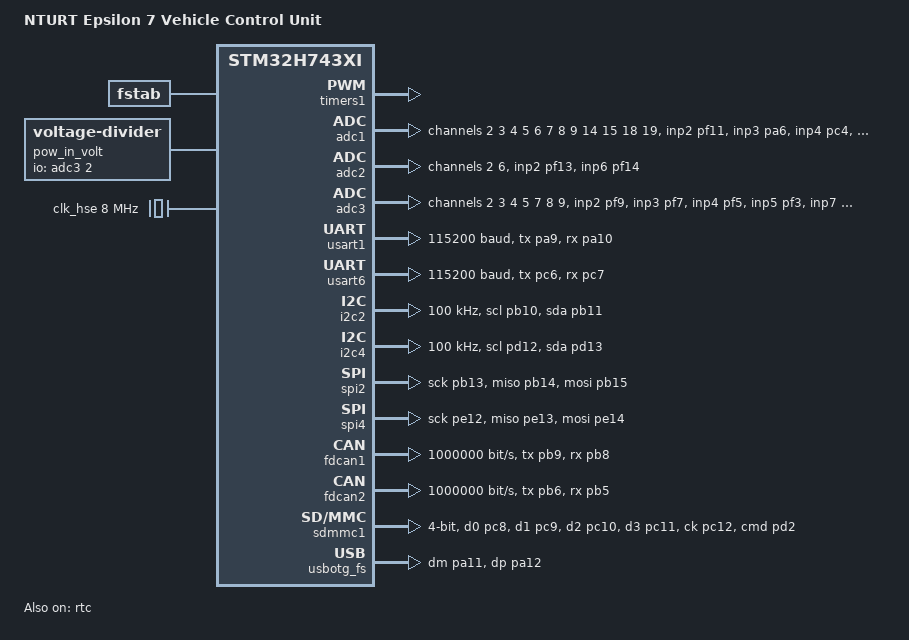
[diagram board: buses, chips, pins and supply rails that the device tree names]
/dts-v1/;
#include <st/h7/stm32h743Xi.dtsi>
#include <st/h7/stm32h743zitx-pinctrl.dtsi>
#include <zephyr/dt-bindings/input/input-event-codes.h>

/ {
    model = "NTURT Epsilon 7 Vehicle Control Unit";
    compatible = "nturt,ep7_vcu";

    chosen {
        zephyr,console = &usart1;
        zephyr,shell-uart = &usart1;
        zephyr,sram = &sram0;
        zephyr,flash = &flash0;
        zephyr,dtcm = &dtcm;
        zephyr,code-partition = &slot0_partition;
        zephyr,canbus = &fdcan1;
        zephyr,usb-device = &usbotg_fs;

        nturt,rtc = &rtc;
        nturt,fstab = &fstab;
        nturt,buzzer = &buzzer;
        nturt,pow-in-volt = &pow_in_volt;
        nturt,pow-low = &pow_low;
    };

    aliases {
        rtc = &rtc;
    };

    fstab: fstab {
        compatible = "zephyr,fstab";
        fatfs {
            compatible = "zephyr,fstab,fatfs";
            mount-point = "/SD:";
            disk-access;
            automount;
        };
    };

    // dummy only to expose node properties to the device tree
    dummy_leds: dummy-leds {
        compatible = "gpio-leds";
        status = "disabled";

        buzzer: buzzer {
            gpios = <&gpiod 3 GPIO_ACTIVE_HIGH>;
        };
    };

    // dummy only to expose node properties to the device tree
    dummy_buttons: dummy-buttons {
        compatible = "gpio-keys";
        status = "disabled";

        pow_low: pow-low {
            gpios = <&gpiog 8 (GPIO_ACTIVE_HIGH | GPIO_PULL_UP)>;
            zephyr,code = <INPUT_KEY_0>;
        };
    };

    pow_in_volt: pow-in-volt {
        compatible = "voltage-divider";
        io-channels = <&adc3 2>;
        full-ohms = <(49900 + 5600)>;
        output-ohms = <5600>;
    };
};

// include here for them to reference the added nodes above
#include "dashboard.dtsi"
#include "sensors.dtsi"

&clk_lsi {
    status = "okay";
};

&clk_csi {
    status = "okay";
};

&clk_hsi48 {
    status = "okay";
};

&clk_hse {
    clock-frequency = <DT_FREQ_M(8)>;
    status = "okay";
};

&clk_lse {
    status = "okay";
};

&pll {
    div-m = <2>;
    mul-n = <240>;
    div-p = <2>;
    div-q = <20>;
    div-r = <2>;
    clocks = <&clk_hse>;
    status = "okay";
};

&pll2 {
    div-m = <2>;
    mul-n = <200>;
    div-p = <2>;
    div-q = <20>;
    div-r = <4>;
    clocks = <&clk_hse>;
    status = "okay";
};

&pll3 {
    div-m = <2>;
    mul-n = <128>;
    div-p = <8>;
    div-q = <8>;
    div-r = <8>;
    clocks = <&clk_hse>;
    status = "okay";
};

&rcc {
    clocks = <&pll>;
    clock-frequency = <DT_FREQ_M(480)>;
    d1cpre = <1>;
    hpre = <2>;
    d1ppre = <2>;
    d2ppre1 = <2>;
    d2ppre2 = <2>;
    d3ppre = <2>;
};

&backup_sram {
    status = "okay";
};

&flash0 {
    partitions {
        compatible = "fixed-partitions";
        #address-cells = <1>;
        #size-cells = <1>;

        // bootloader: 128KB
        boot_partition: partition@0 {
            label = "mcuboot";
            reg = <0x00000000 DT_SIZE_K(128)>;
            read-only;
        };

        // application image slot: 896KB
        slot0_partition: partition@20000 {
            label = "image-0";
            reg = <0x00020000 DT_SIZE_K(896)>;
        };

        // backup slot: 896KB
        slot1_partition: partition@100000 {
            label = "image-1";
            reg = <0x00100000 DT_SIZE_K(896)>;
        };

        // swap slot: 128KB
        scratch_partition: partition@1E0000 {
            label = "image-scratch";
            reg = <0x001e0000 DT_SIZE_K(128)>;
        };
    };
};

&dma1 {
    status = "okay";
};

&dma2 {
    status = "okay";
};

&dmamux1 {
    status = "okay";
};

// 16-bit APB4 timers at 240MHz, 10us resolution, 100 steps with 1ms period PWM
&timers1 {
    st,prescaler = <(2400 - 1)>;
    status = "okay";

    pwm1: pwm {
        pinctrl-0 = <&tim1_ch1_pe9>;
        pinctrl-names = "default";
        status = "okay";
    };
};

&rtc {
	clocks = <&rcc STM32_CLOCK(APB4, 16U)>,
             <&rcc STM32_SRC_LSE RTC_SEL(1)>;
    status = "okay";
};

// sync clock from PLL3_R at 64MHz, 4us sampling time with 4 oversampling
&adc1 {
	clocks = <&rcc STM32_CLOCK(AHB1, 5U)>,
             <&rcc STM32_SRC_PLL3_R ADC_SEL(1)>;
    pinctrl-0 = <&adc1_inp2_pf11 &adc1_inp3_pa6 &adc1_inp4_pc4 &adc1_inp5_pb1
                 &adc1_inp6_pf12 &adc1_inp7_pa7 &adc1_inp8_pc5 &adc1_inp9_pb0
                 &adc1_inp14_pa2 &adc1_inp15_pa3 &adc1_inp19_pa5>;
    pinctrl-names = "default";
    st,adc-clock-source = "SYNC";
    st,adc-prescaler = <4>;
    #address-cells = <1>;
    #size-cells = <0>;
    status = "okay";

    // CL_CH17
    channel@2 {
        reg = <2>;
        zephyr,gain = "ADC_GAIN_1";
        zephyr,reference = "ADC_REF_INTERNAL";
        zephyr,acquisition-time = <ADC_ACQ_TIME(ADC_ACQ_TIME_TICKS, 65)>;
        zephyr,resolution = <16>;
        zephyr,oversampling = <2>;
    };

    // CL_CH11
    channel@3 {
        reg = <3>;
        zephyr,gain = "ADC_GAIN_1";
        zephyr,reference = "ADC_REF_INTERNAL";
        zephyr,acquisition-time = <ADC_ACQ_TIME(ADC_ACQ_TIME_TICKS, 65)>;
        zephyr,resolution = <16>;
        zephyr,oversampling = <2>;
    };

    // CL_CH13
    channel@4 {
        reg = <4>;
        zephyr,gain = "ADC_GAIN_1";
        zephyr,reference = "ADC_REF_INTERNAL";
        zephyr,acquisition-time = <ADC_ACQ_TIME(ADC_ACQ_TIME_TICKS, 65)>;
        zephyr,resolution = <16>;
        zephyr,oversampling = <2>;
    };

    // CL_CH16
    channel@5 {
        reg = <5>;
        zephyr,gain = "ADC_GAIN_1";
        zephyr,reference = "ADC_REF_INTERNAL";
        zephyr,acquisition-time = <ADC_ACQ_TIME(ADC_ACQ_TIME_TICKS, 65)>;
        zephyr,resolution = <16>;
        zephyr,oversampling = <2>;
    };

    // CL_CH18
    channel@6 {
        reg = <6>;
        zephyr,gain = "ADC_GAIN_1";
        zephyr,reference = "ADC_REF_INTERNAL";
        zephyr,acquisition-time = <ADC_ACQ_TIME(ADC_ACQ_TIME_TICKS, 65)>;
        zephyr,resolution = <16>;
        zephyr,oversampling = <2>;
    };

    // CL_CH12
    channel@7 {
        reg = <7>;
        zephyr,gain = "ADC_GAIN_1";
        zephyr,reference = "ADC_REF_INTERNAL";
        zephyr,acquisition-time = <ADC_ACQ_TIME(ADC_ACQ_TIME_TICKS, 65)>;
        zephyr,resolution = <16>;
        zephyr,oversampling = <2>;
    };

    // CL_CH14
    channel@8 {
        reg = <8>;
        zephyr,gain = "ADC_GAIN_1";
        zephyr,reference = "ADC_REF_INTERNAL";
        zephyr,acquisition-time = <ADC_ACQ_TIME(ADC_ACQ_TIME_TICKS, 65)>;
        zephyr,resolution = <16>;
        zephyr,oversampling = <2>;
    };

    // CL_CH15
    channel@9 {
        reg = <9>;
        zephyr,gain = "ADC_GAIN_1";
        zephyr,reference = "ADC_REF_INTERNAL";
        zephyr,acquisition-time = <ADC_ACQ_TIME(ADC_ACQ_TIME_TICKS, 65)>;
        zephyr,resolution = <16>;
        zephyr,oversampling = <2>;
    };

    // CL_CH7
    channel@e {
        reg = <14>;
        zephyr,gain = "ADC_GAIN_1";
        zephyr,reference = "ADC_REF_INTERNAL";
        zephyr,acquisition-time = <ADC_ACQ_TIME(ADC_ACQ_TIME_TICKS, 65)>;
        zephyr,resolution = <16>;
        zephyr,oversampling = <2>;
    };

    // CL_CH8
    channel@f {
        reg = <15>;
        zephyr,gain = "ADC_GAIN_1";
        zephyr,reference = "ADC_REF_INTERNAL";
        zephyr,acquisition-time = <ADC_ACQ_TIME(ADC_ACQ_TIME_TICKS, 65)>;
        zephyr,resolution = <16>;
        zephyr,oversampling = <2>;
    };

    // CL_CH9
    channel@12 {
        reg = <18>;
        zephyr,gain = "ADC_GAIN_1";
        zephyr,reference = "ADC_REF_INTERNAL";
        zephyr,acquisition-time = <ADC_ACQ_TIME(ADC_ACQ_TIME_TICKS, 65)>;
        zephyr,resolution = <16>;
        zephyr,oversampling = <2>;
    };

    // CL_CH10
    channel@13 {
        reg = <19>;
        zephyr,gain = "ADC_GAIN_1";
        zephyr,reference = "ADC_REF_INTERNAL";
        zephyr,acquisition-time = <ADC_ACQ_TIME(ADC_ACQ_TIME_TICKS, 65)>;
        zephyr,resolution = <16>;
        zephyr,oversampling = <2>;
    };
};

// sync clock from PLL3_R at 64MHz, 4us sampling time with 4 oversampling
&adc2 {
	clocks = <&rcc STM32_CLOCK(AHB1, 5U)>,
             <&rcc STM32_SRC_PLL3_R ADC_SEL(1)>;
    pinctrl-0 = <&adc2_inp2_pf13 &adc2_inp6_pf14>;
    pinctrl-names = "default";
    st,adc-clock-source = "SYNC";
    st,adc-prescaler = <4>;
    #address-cells = <1>;
    #size-cells = <0>;
    status = "okay";

    // CL_CH19
    channel@2 {
        reg = <2>;
        zephyr,gain = "ADC_GAIN_1";
        zephyr,reference = "ADC_REF_INTERNAL";
        zephyr,acquisition-time = <ADC_ACQ_TIME(ADC_ACQ_TIME_TICKS, 65)>;
        zephyr,resolution = <16>;
        zephyr,oversampling = <2>;
    };

    // CL_CH20
    channel@6 {
        reg = <6>;
        zephyr,gain = "ADC_GAIN_1";
        zephyr,reference = "ADC_REF_INTERNAL";
        zephyr,acquisition-time = <ADC_ACQ_TIME(ADC_ACQ_TIME_TICKS, 65)>;
        zephyr,resolution = <16>;
        zephyr,oversampling = <2>;
    };
};

// sync clock from PLL3_R at 64MHz, 4us sampling time with 4 oversampling
&adc3 {
	clocks = <&rcc STM32_CLOCK(AHB4, 24U)>,
             <&rcc STM32_SRC_PLL3_R ADC_SEL(1)>;
    pinctrl-0 = <&adc3_inp2_pf9 &adc3_inp3_pf7 &adc3_inp4_pf5 &adc3_inp5_pf3
                 &adc3_inp7_pf8 &adc3_inp8_pf6 &adc3_inp9_pf4>;
    pinctrl-names = "default";
    st,adc-clock-source = "SYNC";
    st,adc-prescaler = <4>;
    #address-cells = <1>;
    #size-cells = <0>;
    status = "okay";

    // pow-in-volt
    channel@2 {
        reg = <2>;
        zephyr,gain = "ADC_GAIN_1";
        zephyr,reference = "ADC_REF_INTERNAL";
        zephyr,acquisition-time = <ADC_ACQ_TIME(ADC_ACQ_TIME_TICKS, 65)>;
        zephyr,resolution = <16>;
        zephyr,oversampling = <2>;
    };

    // CL_CH5
    channel@3 {
        reg = <3>;
        zephyr,gain = "ADC_GAIN_1";
        zephyr,reference = "ADC_REF_INTERNAL";
        zephyr,acquisition-time = <ADC_ACQ_TIME(ADC_ACQ_TIME_TICKS, 65)>;
        zephyr,resolution = <16>;
        zephyr,oversampling = <2>;
    };

    // CL_CH3
    channel@4 {
        reg = <4>;
        zephyr,gain = "ADC_GAIN_1";
        zephyr,reference = "ADC_REF_INTERNAL";
        zephyr,acquisition-time = <ADC_ACQ_TIME(ADC_ACQ_TIME_TICKS, 65)>;
        zephyr,resolution = <16>;
        zephyr,oversampling = <2>;
    };

    // CL_CH1
    channel@5 {
        reg = <5>;
        zephyr,gain = "ADC_GAIN_1";
        zephyr,reference = "ADC_REF_INTERNAL";
        zephyr,acquisition-time = <ADC_ACQ_TIME(ADC_ACQ_TIME_TICKS, 65)>;
        zephyr,resolution = <16>;
        zephyr,oversampling = <2>;
    };

    // CL_CH6
    channel@7 {
        reg = <7>;
        zephyr,gain = "ADC_GAIN_1";
        zephyr,reference = "ADC_REF_INTERNAL";
        zephyr,acquisition-time = <ADC_ACQ_TIME(ADC_ACQ_TIME_TICKS, 65)>;
        zephyr,resolution = <16>;
        zephyr,oversampling = <2>;
    };

    // CL_CH4
    channel@8 {
        reg = <8>;
        zephyr,gain = "ADC_GAIN_1";
        zephyr,reference = "ADC_REF_INTERNAL";
        zephyr,acquisition-time = <ADC_ACQ_TIME(ADC_ACQ_TIME_TICKS, 65)>;
        zephyr,resolution = <16>;
        zephyr,oversampling = <2>;
    };

    // CL_CH2
    channel@9 {
        reg = <9>;
        zephyr,gain = "ADC_GAIN_1";
        zephyr,reference = "ADC_REF_INTERNAL";
        zephyr,acquisition-time = <ADC_ACQ_TIME(ADC_ACQ_TIME_TICKS, 65)>;
        zephyr,resolution = <16>;
        zephyr,oversampling = <2>;
    };
};

&usart1 {
	clocks = <&rcc STM32_CLOCK(APB2, 4U)>,
             <&rcc STM32_SRC_PLL3_Q USART16_SEL(2)>;
    dmas = <&dmamux1 0 42 STM32_DMA_PERIPH_TX>,
           <&dmamux1 1 41 STM32_DMA_PERIPH_RX>;
    dma-names = "tx", "rx";
    pinctrl-0 = <&usart1_tx_pa9 &usart1_rx_pa10>;
    pinctrl-names = "default";
    current-speed = <115200>;
    status = "okay";
};

&usart6 {
	clocks = <&rcc STM32_CLOCK(APB2, 5U)>,
             <&rcc STM32_SRC_PLL3_Q USART16_SEL(2)>;
    pinctrl-0 = <&usart6_tx_pc6 &usart6_rx_pc7>;
    pinctrl-names = "default";
    current-speed = <115200>;
    status = "okay";
};

&i2c2 {
	clocks = <&rcc STM32_CLOCK(APB1, 22U)>,
             <&rcc STM32_SRC_PLL3_R I2C123_SEL(1)>;
    pinctrl-0 = <&i2c2_scl_pb10 &i2c2_sda_pb11>;
    pinctrl-names = "default";
    clock-frequency = <I2C_BITRATE_STANDARD>;
    status = "okay";
};

&i2c4 {
	clocks = <&rcc STM32_CLOCK(APB4, 7U)>,
             <&rcc STM32_SRC_PLL3_R I2C4_SEL(1)>;
    pinctrl-0 = <&i2c4_scl_pd12 &i2c4_sda_pd13>;
    pinctrl-names = "default";
    clock-frequency = <I2C_BITRATE_STANDARD>;
    status = "okay";
};

&spi2 {
	clocks = <&rcc STM32_CLOCK(APB1, 14U)>,
             <&rcc STM32_SRC_PLL3_P SPI123_SEL(2)>;
    dmas = <&dmamux1 2 40 STM32_DMA_PERIPH_TX>,
           <&dmamux1 3 39 STM32_DMA_PERIPH_RX>;
    dma-names = "tx", "rx";
    pinctrl-0 = <&spi2_sck_pb13 &spi2_miso_pb14 &spi2_mosi_pb15>;
    pinctrl-names = "default";
    cs-gpios = <&gpiob 12 (GPIO_ACTIVE_LOW | GPIO_PULL_UP)>;
    status = "okay";
};

// does not use dma since the dma overhead is higher than the transfer time of
// 11 bytes
&spi4 {
	clocks = <&rcc STM32_CLOCK(APB2, 13U)>,
             <&rcc STM32_SRC_PLL3_Q SPI45_SEL(2)>;
    pinctrl-0 = <&spi4_sck_pe12 &spi4_miso_pe13 &spi4_mosi_pe14>;
    pinctrl-names = "default";
    cs-gpios = <&gpioe 10 (GPIO_ACTIVE_LOW | GPIO_PULL_UP)>,
               <&gpioe 11 (GPIO_ACTIVE_LOW | GPIO_PULL_UP)>;
    status = "okay";
};

&fdcan1 {
	clocks = <&rcc STM32_CLOCK(APB1_2, 8U)>,
             <&rcc STM32_SRC_PLL2_Q FDCAN_SEL(2)>;
    pinctrl-0 = <&fdcan1_tx_pb9 &fdcan1_rx_pb8>;
    pinctrl-names = "default";
    bitrate = <1000000>;
    sample-point = <800>;
    bitrate-data = <1000000>;
    sample-point-data = <800>;
    status = "okay";
};

&fdcan2 {
	clocks = <&rcc STM32_CLOCK(APB1_2, 8U)>,
             <&rcc STM32_SRC_PLL2_Q FDCAN_SEL(2)>;
    pinctrl-0 = <&fdcan2_tx_pb6 &fdcan2_rx_pb5>;
    pinctrl-names = "default";
    bitrate = <1000000>;
    sample-point = <800>;
    bitrate-data = <1000000>;
    sample-point-data = <800>;
    status = "okay";
};

&sdmmc1 {
	clocks = <&rcc STM32_CLOCK(AHB3, 16U)>,
             <&rcc STM32_SRC_PLL1_Q SDMMC_SEL(0)>;
    pinctrl-0 = <&sdmmc1_d0_pc8 &sdmmc1_d1_pc9 &sdmmc1_d2_pc10 &sdmmc1_d3_pc11
                 &sdmmc1_ck_pc12 &sdmmc1_cmd_pd2>;
    pinctrl-names = "default";
    disk-name = "SD";
    bus-width = <4>;
    idma;
    status = "okay";
};

zephyr_udc0: &usbotg_fs {
    pinctrl-0 = <&usb_otg_fs_dm_pa11 &usb_otg_fs_dp_pa12>;
    pinctrl-names = "default";
    status = "okay";
};
